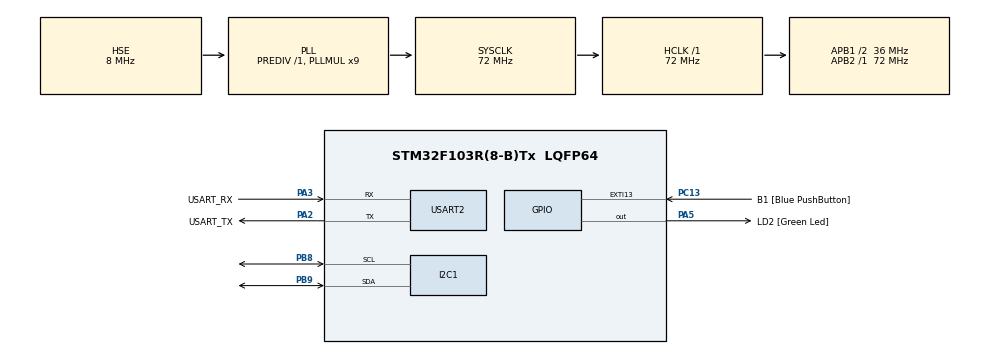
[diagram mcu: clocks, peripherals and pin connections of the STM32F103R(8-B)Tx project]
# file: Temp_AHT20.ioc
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FREERTOS.Queues01=weatherQueue,8,uint16_t,0,Dynamic,NULL,NULL
FREERTOS.Tasks01=WeatherTask,24,128,StartWeatherTask,Default,NULL,Dynamic,NULL,NULL;DisplayTask,8,128,StartDisplayTask,Default,NULL,Dynamic,NULL,NULL
FREERTOS.configUSE_NEWLIB_REENTRANT=1
Mcu.Family=STM32F1
Mcu.Name=STM32F103R(8-B)Tx
Mcu.Package=LQFP64
NVIC.EXTI15_10_IRQn=true\:5\:0\:false\:false\:true\:true\:true\:true\:true
NVIC.PriorityGroup=NVIC_PRIORITYGROUP_4
NVIC.TIM1_UP_IRQn=true\:15\:0\:false\:false\:true\:false\:false\:true\:true
NVIC.TimeBase=TIM1_UP_IRQn
NVIC.TimeBaseIP=TIM1
PA13.GPIO_Label=TMS
PA13.Mode=Serial_Wire
PA13.Signal=SYS_JTMS-SWDIO
PA14.GPIO_Label=TCK
PA14.Mode=Serial_Wire
PA14.Signal=SYS_JTCK-SWCLK
PA2.GPIO_Label=USART_TX
PA2.GPIO_Mode=GPIO_MODE_AF_PP
PA2.GPIO_PuPd=GPIO_NOPULL
PA2.GPIO_Speed=GPIO_SPEED_FREQ_LOW
PA2.Mode=Asynchronous
PA2.Signal=USART2_TX
PA3.GPIO_Label=USART_RX
PA3.GPIO_Mode=GPIO_MODE_AF_PP
PA3.GPIO_PuPd=GPIO_NOPULL
PA3.GPIO_Speed=GPIO_SPEED_FREQ_LOW
PA3.Mode=Asynchronous
PA3.Signal=USART2_RX
PA5.GPIO_Label=LD2 [Green Led]
PA5.GPIO_ModeDefaultOutputPP=GPIO_MODE_OUTPUT_PP
PA5.GPIO_PuPd=GPIO_NOPULL
PA5.GPIO_Speed=GPIO_SPEED_FREQ_LOW
PA5.Signal=GPIO_Output
PB3.GPIO_Label=SWO
PB3.Signal=SYS_JTDO-TRACESWO
PB8.Mode=I2C
PB8.Signal=I2C1_SCL
PB9.Mode=I2C
PB9.Signal=I2C1_SDA
PC13-TAMPER-RTC.GPIO_Label=B1 [Blue PushButton]
PC13-TAMPER-RTC.GPIO_PuPd=GPIO_NOPULL
PC13-TAMPER-RTC.Signal=GPXTI13
PC14-OSC32_IN.Mode=LSE-External-Oscillator
PC14-OSC32_IN.Signal=RCC_OSC32_IN
PC15-OSC32_OUT.Mode=LSE-External-Oscillator
PC15-OSC32_OUT.Signal=RCC_OSC32_OUT
PD0-OSC_IN.Mode=HSE-External-Clock-Source
PD0-OSC_IN.Signal=RCC_OSC_IN
PD1-OSC_OUT.Mode=HSE-External-Clock-Source
PD1-OSC_OUT.Signal=RCC_OSC_OUT
ProjectManager.HeapSize=0x200
ProjectManager.StackSize=0x400
ProjectManager.TargetToolchain=CMake
RCC.AHBFreq_Value=72000000
RCC.APB1CLKDivider=RCC_HCLK_DIV2
RCC.APB1Freq_Value=36000000
RCC.APB1TimFreq_Value=72000000
RCC.APB2Freq_Value=72000000
RCC.APB2TimFreq_Value=72000000
RCC.HCLKFreq_Value=72000000
RCC.PLLMUL=RCC_PLL_MUL9
RCC.PLLSourceVirtual=RCC_PLLSOURCE_HSE
RCC.RTCClockSelection=RCC_RTCCLKSOURCE_LSE
RCC.SYSCLKFreq_VALUE=72000000
RCC.SYSCLKSource=RCC_SYSCLKSOURCE_PLLCLK
RCC.USBFreq_Value=72000000
USART2.VirtualMode=VM_ASYNC
VP_FREERTOS_VS_CMSIS_V2.Mode=CMSIS_V2
VP_SYS_VS_tim1.Mode=TIM1
board=NUCLEO-F103RB

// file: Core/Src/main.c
/* USER CODE BEGIN Header */
/**
  ******************************************************************************
  * @file           : main.c
  * @brief          : Main program body
  ******************************************************************************
  * @attention
  *
  * Copyright (c) 2026 STMicroelectronics.
  * All rights reserved.
  *
  * This software is licensed under terms that can be found in the LICENSE file
  * in the root directory of this software component.
  * If no LICENSE file comes with this software, it is provided AS-IS.
  *
  ******************************************************************************
  */
/* USER CODE END Header */
#include "main.h"
#include "cmsis_os.h"
#include "i2c.h"
#include "usart.h"
#include "gpio.h"

void SystemClock_Config(void);
void MX_FREERTOS_Init(void);

int main(void)
{

  /* MCU Configuration--------------------------------------------------------*/

  /* Reset of all peripherals, Initializes the Flash interface and the Systick. */
  HAL_Init();

  /* Configure the system clock */
  SystemClock_Config();

  /* Initialize all configured peripherals */
  MX_GPIO_Init();
  MX_I2C1_Init();
  MX_USART2_UART_Init();

  /* Init scheduler */
  osKernelInitialize();  /* Call init function for freertos objects (in cmsis_os2.c) */
  MX_FREERTOS_Init();

  /* Start scheduler */
  osKernelStart();

  /* We should never get here as control is now taken by the scheduler */

  /* Infinite loop */
  while (1)
  {

  }
}

void SystemClock_Config(void)
{
  RCC_OscInitTypeDef RCC_OscInitStruct = {0};
  RCC_ClkInitTypeDef RCC_ClkInitStruct = {0};

  /** Initializes the RCC Oscillators according to the specified parameters
  * in the RCC_OscInitTypeDef structure.
  */
  RCC_OscInitStruct.OscillatorType = RCC_OSCILLATORTYPE_HSE;
  RCC_OscInitStruct.HSEState = RCC_HSE_BYPASS;
  RCC_OscInitStruct.HSEPredivValue = RCC_HSE_PREDIV_DIV1;
  RCC_OscInitStruct.HSIState = RCC_HSI_ON;
  RCC_OscInitStruct.PLL.PLLState = RCC_PLL_ON;
  RCC_OscInitStruct.PLL.PLLSource = RCC_PLLSOURCE_HSE;
  RCC_OscInitStruct.PLL.PLLMUL = RCC_PLL_MUL9;
  if (HAL_RCC_OscConfig(&RCC_OscInitStruct) != HAL_OK)
  {
    Error_Handler();
  }

  /** Initializes the CPU, AHB and APB buses clocks
  */
  RCC_ClkInitStruct.ClockType = RCC_CLOCKTYPE_HCLK|RCC_CLOCKTYPE_SYSCLK
                              |RCC_CLOCKTYPE_PCLK1|RCC_CLOCKTYPE_PCLK2;
  RCC_ClkInitStruct.SYSCLKSource = RCC_SYSCLKSOURCE_PLLCLK;
  RCC_ClkInitStruct.AHBCLKDivider = RCC_SYSCLK_DIV1;
  RCC_ClkInitStruct.APB1CLKDivider = RCC_HCLK_DIV2;
  RCC_ClkInitStruct.APB2CLKDivider = RCC_HCLK_DIV1;

  if (HAL_RCC_ClockConfig(&RCC_ClkInitStruct, FLASH_LATENCY_2) != HAL_OK)
  {
    Error_Handler();
  }
}

void HAL_TIM_PeriodElapsedCallback(TIM_HandleTypeDef *htim)
{
  if (htim->Instance == TIM1)
  {
    HAL_IncTick();
  }
}

void Error_Handler(void)
{
  __disable_irq();
  while (1)
  {
  }
}

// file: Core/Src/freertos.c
/* USER CODE BEGIN Header */
/**
  ******************************************************************************
  * File Name          : freertos.c
  * Description        : Code for freertos applications
  ******************************************************************************
  * @attention
  *
  * Copyright (c) 2026 STMicroelectronics.
  * All rights reserved.
  *
  * This software is licensed under terms that can be found in the LICENSE file
  * in the root directory of this software component.
  * If no LICENSE file comes with this software, it is provided AS-IS.
  *
  ******************************************************************************
  */
/* USER CODE END Header */

#include "FreeRTOS.h"
#include "task.h"
#include "main.h"
#include "cmsis_os.h"

/* USER CODE BEGIN Includes */

#include <stdint.h>
#include <stdio.h>

/* USER CODE END Includes */

/* USER CODE BEGIN PTD */

typedef struct {
    int16_t temperature;    // E.g. 255 -> 25.5 C
    uint16_t humidity;      // E.g. 605 -> 60.5 %
    uint32_t pressure;      // 101325 -> 1013.25 hPa (Sensor measures in Pascal)
} Weather_Data_t;

typedef struct {            // BMP280 kalibrációs adatait tároló struktúra
    uint16_t dig_T1;
    int16_t  dig_T2;
    int16_t  dig_T3;
    uint16_t dig_P1;
    int16_t  dig_P2;
    int16_t  dig_P3;
    int16_t  dig_P4;
    int16_t  dig_P5;
    int16_t  dig_P6;
    int16_t  dig_P7;
    int16_t  dig_P8;
    int16_t  dig_P9;
} BMP280_Calib_t;

BMP280_Calib_t bmp280_calib; // Globális kalibrációs változó

// Behozzuk az UART kezelőt
extern UART_HandleTypeDef huart2;
extern I2C_HandleTypeDef hi2c1; // Behozzuk a CubeMX által generált I2C-t

/* USER CODE END PTD */

/* USER CODE BEGIN PD */

#define AHT20_ADDRESS  (0x38 << 1)   // The addresses must be shifted to the left by one
#define BMP280_ADDRESS (0x77 << 1)

/* USER CODE END PD */

/* Definitions for WeatherTask */
osThreadId_t WeatherTaskHandle;
const osThreadAttr_t WeatherTask_attributes = {
  .name = "WeatherTask",
  .stack_size = 128 * 4,
  .priority = (osPriority_t) osPriorityNormal,
};
/* Definitions for DisplayTask */
osThreadId_t DisplayTaskHandle;
const osThreadAttr_t DisplayTask_attributes = {
  .name = "DisplayTask",
  .stack_size = 128 * 4,
  .priority = (osPriority_t) osPriorityLow,
};
/* Definitions for weatherQueue */
osMessageQueueId_t weatherQueueHandle;
const osMessageQueueAttr_t weatherQueue_attributes = {
  .name = "weatherQueue"
};

/* USER CODE BEGIN FunctionPrototypes */

uint8_t AHT20_Init(void);
uint8_t AHT20_Read(int16_t *Temperature, uint16_t *Humidity);
uint8_t BMP280_Init(void);
uint8_t BMP280_ReadPressure(uint32_t *Pressure);

/* USER CODE END FunctionPrototypes */

void StartWeatherTask(void *argument);
void StartDisplayTask(void *argument);

void MX_FREERTOS_Init(void); /* (MISRA C 2004 rule 8.1) */

void MX_FREERTOS_Init(void) {

  /* Create the queue(s) */
  /* creation of weatherQueue */
  weatherQueueHandle = osMessageQueueNew (8, sizeof(Weather_Data_t), &weatherQueue_attributes);

  /* Create the thread(s) */
  /* creation of WeatherTask */
  WeatherTaskHandle = osThreadNew(StartWeatherTask, NULL, &WeatherTask_attributes);

  /* creation of DisplayTask */
  DisplayTaskHandle = osThreadNew(StartDisplayTask, NULL, &DisplayTask_attributes);

}

void StartWeatherTask(void *argument)
{
  /* USER CODE BEGIN StartWeatherTask */
    Weather_Data_t sensorData;

    // 1. Szenzor ébresztése a ciklus ELŐTT (csak egyszer fut le)
    AHT20_Init();
    BMP280_Init(); // BMP280 elindítása

    /* Infinite loop */
    for(;;)
    {
        // 2. Mérés elindítása
        AHT20_Read(&sensorData.temperature, &sensorData.humidity);
        BMP280_ReadPressure(&sensorData.pressure);

        // Bedobjuk a csomagot a Queue-ba
        osMessageQueuePut(weatherQueueHandle, &sensorData, 0, osWaitForever);

        // AHT20-at nem szabad túl sűrűn kérdezni, a 3 másodperc tökéletes
        osDelay(3000);
    }
  /* USER CODE END StartWeatherTask */
}

void StartDisplayTask(void *argument)
{
  /* USER CODE BEGIN StartDisplayTask */
  Weather_Data_t received;
  char buf[100];

  /* Infinite loop */
  for(;;)
  {
    // Várunk a Queue-ra. Amíg üres, ez a task "alszik" és nem pazarol CPU-t
    if (osMessageQueueGet(weatherQueueHandle, &received, NULL, osWaitForever) == osOK) {

        // Kiszámoljuk a tizedesjegyeket az AHT20-as függvényünkhöz igazítva
        int temp_int = received.temperature / 10;
        int temp_dec = received.temperature % 10;

        int hum_int = received.humidity / 10;
        int hum_dec = received.humidity % 10;

        // Negatív hőmérsékletnél a modulo (%) negatív számot adna, ezt korrigáljuk a kijelzésnél
        if (temp_dec < 0) temp_dec = -temp_dec;

        // Kiszámoljuk a tizedesjegyeket a BMP280 -hoz
        int press_int = received.pressure / 100;
        int press_dec = received.pressure % 100;

        // Szöveg formázása
      int len = sprintf(buf, "AHT20 -> Temp: %d.%d C | Hum: %d.%d %% | Press: %d.%d hPa\r\n",
                  temp_int, temp_dec, hum_int, hum_dec, press_int, press_dec);

        // Küldés a PC-nek
        HAL_UART_Transmit(&huart2, (uint8_t*)buf, len, 100);
    }
  }
  /* USER CODE END StartDisplayTask */
}

/* USER CODE BEGIN Application */
/*
 *  --- Reading sensor data ------------------------------------------
 */

uint8_t AHT20_Init(void) {
    // 1. Várunk a bekapcsolás után (az AHT20-nak kell 100-150ms az ébredéshez)
    osDelay(150);

    // 2. Szoftveres újraindítás (Reset), hogy tiszta lappal induljunk
    uint8_t reset_cmd = 0xBA;
    HAL_I2C_Master_Transmit(&hi2c1, AHT20_ADDRESS, &reset_cmd, 1, 100);
    osDelay(20);

    // 3. KÉNSZERÍTETT KALIBRÁCIÓ (Nem nézünk státuszt, azonnal küldjük!)
    uint8_t init_cmd[3] = {0xBE, 0x08, 0x00};
    HAL_I2C_Master_Transmit(&hi2c1, AHT20_ADDRESS, init_cmd, 3, 100);
    osDelay(50); // Várunk, amíg a kalibráció lefut a chipben

    //uint8_t check_cmd = {0x71}; // Állapot lekérdező parancs
    //uint8_t status;

    // 1. Várunk egy kicsit (100ms -ot) a bekapcsolás után (szüksége van rá a chipnek)
    //osDelay(100);

    // 2. Lekérjük a státuszt
    //HAL_I2C_Master_Transmit(&hi2c1, AHT20_ADDRESS, &check_cmd, 1, 100);
    //HAL_I2C_Master_Receive(&hi2c1, AHT20_ADDRESS, &status, 1, 100);

    // 3. Ellenőrizzük, hogy kalibrálva van-e (a 3. bitnek 1-nek kell lennie)
    //if ((status & 0x08) == 0x00) {
        // Ha nincs kalibrálva, elküldjük az inicializáló parancsot
      //  uint8_t init_cmd[3] = {0xBE, 0x08, 0x00};
      //  HAL_I2C_Master_Transmit(&hi2c1, AHT20_ADDRESS, init_cmd, 3, 100);
      //  osDelay(10);
    //}

    return 1;
}

/*
 *  --- Reading sensor data ------------------------------------------
 * */

uint8_t AHT20_Read(int16_t *Temperature, uint16_t *Humidity) {
    uint8_t read_cmd[] = {0xAC, 0x33, 0x00}; // Mérés indítása parancs
    uint8_t data[6];                         // Ide érkezik a 6 bájt adat
    uint32_t raw_humidity = 0;
    uint32_t raw_temperature = 0;

    // 1. Megkérjük a szenzort, hogy mérjen
    HAL_I2C_Master_Transmit(&hi2c1, AHT20_ADDRESS, read_cmd, 3, 100);

    // 2. Várunk 80 ms-ot, amíg a szenzor elvégzi a mérést (FreeRTOS delay!)
    osDelay(100);

    // 3. Kiolvassuk a 6 bájtot
    HAL_I2C_Master_Receive(&hi2c1, AHT20_ADDRESS, data, 6, 100);

    // 4. Ellenőrizzük a státuszt (az első bájt legfelső bitje (0x80) jelzi, ha még foglalt)
    if ((data[0] & 0x80) == 0x00) {

        // AHT20 adat-összerakás (a bitek furcsán, félig eltolva érkeznek)
        //raw_humidity = ((uint32_t)data[1] << 12) | ((uint32_t)data[2] << 4) | ((uint32_t)data[3] >> 4);
        //raw_temperature = (((uint32_t)data[3] & 0x0F) << 16) | ((uint32_t)data[4] << 8) | (uint32_t)data[5];

        // Egész számú átszámítás (tizedesjegy megtartásával, float nélkül!)
        // A képlet alapján: Hum = (raw / 2^20) * 100
        // Hogy megmaradjon egy tizedesjegy, megszorozzuk 1000-rel a 100 helyett
        //*Humidity = (uint16_t)(((uint64_t)raw_humidity * 1000) >> 20); // Pl: 605 -> 60.5%

        // Temp = (raw / 2^20) * 200 - 50. Egy tizedesjegyhez: * 2000, és a végén - 500
        //*Temperature = (int16_t)(((uint64_t)raw_temperature * 2000) >> 20) - 500;  // Pl: 255 -> 25.5°C

         // 1. PÁRATARTALOM (20 bit) pontos maszkolása és összefűzése
        raw_humidity = (((uint32_t)data[1]) << 12) |
                       (((uint32_t)data[2]) << 4)  |
                       ((((uint32_t)data[3]) >> 4) & 0x0F);

        // 2. HŐMÉRSÉKLET (20 bit) pontos maszkolása och összefűzése
        raw_temperature = ((((uint32_t)data[3]) & 0x0F) << 16) |
                          (((uint32_t)data[4]) << 8)  |
                          ((uint32_t)data[5]);

        // 3. ÁTSZÁMÍTÁS 64 bites szorzással a túlcsordulás ellen
        *Humidity = (uint16_t)(((uint64_t)raw_humidity * 1000) >> 20);
        *Temperature = (int16_t)((((uint64_t)raw_temperature * 2000) >> 20) - 500);

        return 1; // Sikeres mérés
    }

    return 0; // A szenzor még foglalt volt
}

/*--- BMP280 sensor --------------------------------------------------------------------
 *
 * */

uint8_t BMP280_Init(void) {
    uint8_t calib_data[24];
    uint8_t reset_cmd = 0xB6;  // Szoftveres reset parancs
    uint8_t config_cmd = 0x3F; // Normal mode, Temp x1, Pres x16 (sima változó!)

    // 1. Kényszerített újraindítás (Reset) a tiszta induláshoz
    HAL_I2C_Mem_Write(&hi2c1, BMP280_ADDRESS, 0xE0, I2C_MEMADD_SIZE_8BIT, &reset_cmd, 1, 100);
    osDelay(20); // Várunk, amíg a chip újraindul

    // 2. Olvassuk ki a 24 bájtnyi gyári kalibrációs adatot a 0x88-as regisztertől kezdve
    if (HAL_I2C_Mem_Read(&hi2c1, BMP280_ADDRESS, 0x88, I2C_MEMADD_SIZE_8BIT, calib_data, 24, 100) != HAL_OK) {
        return 0; // Hiba
    }

    // 3. Másoljuk be a bájtokat a struktúrába
    bmp280_calib.dig_T1 = (calib_data[1] << 8) | calib_data[0];
    bmp280_calib.dig_T2 = (calib_data[3] << 8) | calib_data[2];
    bmp280_calib.dig_T3 = (calib_data[5] << 8) | calib_data[4];
    bmp280_calib.dig_P1 = (calib_data[7] << 8) | calib_data[6];
    bmp280_calib.dig_P2 = (calib_data[9] << 8) | calib_data[8];
    bmp280_calib.dig_P3 = (calib_data[11] << 8) | calib_data[10];
    bmp280_calib.dig_P4 = (calib_data[13] << 8) | calib_data[12];
    bmp280_calib.dig_P5 = (calib_data[15] << 8) | calib_data[14];
    bmp280_calib.dig_P6 = (calib_data[17] << 8) | calib_data[16];
    bmp280_calib.dig_P7 = (calib_data[19] << 8) | calib_data[18];
    bmp280_calib.dig_P8 = (calib_data[21] << 8) | calib_data[20];
    bmp280_calib.dig_P9 = (calib_data[23] << 8) | calib_data[22];

    // 4. Kapcsoljuk be a szenzort (Beírjuk a 0x3F-et a 0xF4-es ctrl_meas regiszterbe)
    // Most már a &config_cmd pontosan a 0x3F értékű változóra mutat!
    if (HAL_I2C_Mem_Write(&hi2c1, BMP280_ADDRESS, 0xF4, I2C_MEMADD_SIZE_8BIT, &config_cmd, 1, 100) != HAL_OK) {
        return 0; // Hiba a bekapcsolásnál
    }

    return 1;
}

uint8_t BMP280_ReadPressure(uint32_t *Pressure) {
    uint8_t raw_data[3];
    int32_t adc_P;
    int32_t var1, var2;
    uint32_t p;

    // 1. Olvassuk ki a 3 bájt nyers nyomásadatot (0xF7, 0xF8, 0xF9 regiszterek)
    if (HAL_I2C_Mem_Read(&hi2c1, BMP280_ADDRESS, 0xF7, I2C_MEMADD_SIZE_8BIT, raw_data, 3, 100) != HAL_OK) {
        return 0;
    }

    // Nyers 20 bites adat összefűzése
    adc_P = (int32_t)(((uint32_t)raw_data[0] << 12) | ((uint32_t)raw_data[1] << 4) | ((uint32_t)raw_data[2] >> 4));

    // 2. Gyári Bosch kompenzációs képlet (Csak egész számokkal!)
    // Mivel a hőmérsékletet az AHT20-szal mérjük, a t_fine értéket fix középértékre állítjuk a képletben
    int32_t t_fine = 100000; // Átlagos belső hőmérsékleti együttható

    var1 = (((int32_t)t_fine) >> 1) - (int32_t)64000;
    var2 = (((var1 >> 2) * (var1 >> 2)) >> 11) * ((int32_t)bmp280_calib.dig_P6);
    var2 = var2 + ((var1 * ((int32_t)bmp280_calib.dig_P5)) << 1);
    var2 = (var2 >> 2) + (((int32_t)bmp280_calib.dig_P4) << 16);
    var1 = (((bmp280_calib.dig_P3 * (((var1 >> 2) * (var1 >> 2)) >> 13)) >> 3) + ((((int32_t)bmp280_calib.dig_P2) * var1) >> 1)) >> 18;
    var1 = ((((32768 + var1)) * ((int32_t)bmp280_calib.dig_P1))) >> 15;

    if (var1 == 0) {
        return 0; // Elkerüljük a 0-val való osztást
    }

    p = (((uint32_t)(((int32_t)1048576) - adc_P)) - (var2 >> 12)) * 3125;
    if (p < 0x80000000) {
        p = (p << 1) / ((uint32_t)var1);
    } else {
        p = (p / (uint32_t)var1) * 2;
    }

    var1 = (((int32_t)bmp280_calib.dig_P9) * ((int32_t)(((p >> 3) * (p >> 3)) >> 13))) >> 12;
    var2 = (((int32_t)(p >> 2)) * ((int32_t)bmp280_calib.dig_P8)) >> 13;
    p = (uint32_t)((int32_t)p + ((var1 + var2 + bmp280_calib.dig_P7) >> 4));

    // A 'p' érték Pascalban van (pl: 101325 Pa = 1013.25 hPa)
    *Pressure = p;
    return 1;
}

/* USER CODE END Application */
